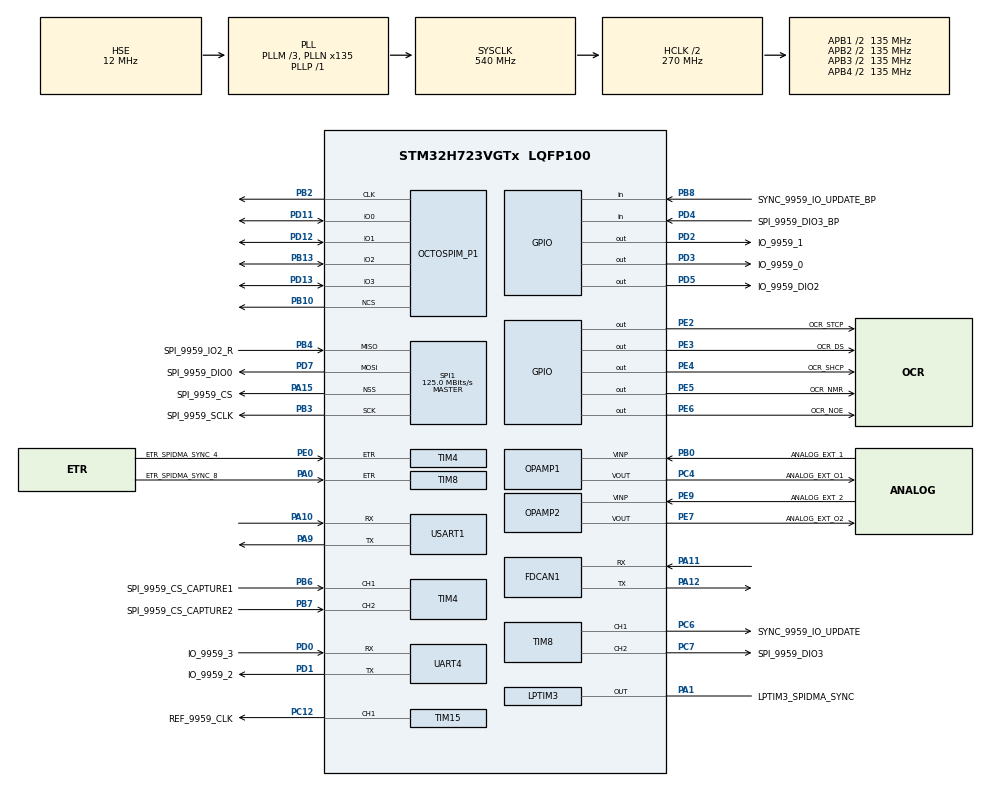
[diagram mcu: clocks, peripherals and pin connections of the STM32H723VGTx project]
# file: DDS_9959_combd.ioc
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CORTEX_M7.default_mode_Activation=1
Dma.Request0=TIM4_UP
Dma.Request1=SPI1_TX
Dma.SPI1_TX.1.Direction=DMA_MEMORY_TO_PERIPH
Dma.SPI1_TX.1.EventEnable=DISABLE
Dma.SPI1_TX.1.FIFOMode=DMA_FIFOMODE_DISABLE
Dma.SPI1_TX.1.Instance=DMA1_Stream1
Dma.SPI1_TX.1.MemDataAlignment=DMA_MDATAALIGN_BYTE
Dma.SPI1_TX.1.MemInc=DMA_MINC_ENABLE
Dma.SPI1_TX.1.Mode=DMA_NORMAL
Dma.SPI1_TX.1.PeriphDataAlignment=DMA_PDATAALIGN_BYTE
Dma.SPI1_TX.1.PeriphInc=DMA_PINC_DISABLE
Dma.SPI1_TX.1.Polarity=HAL_DMAMUX_REQ_GEN_RISING
Dma.SPI1_TX.1.Priority=DMA_PRIORITY_HIGH
Dma.SPI1_TX.1.RequestNumber=1
Dma.SPI1_TX.1.SignalID=NONE
Dma.SPI1_TX.1.SyncEnable=ENABLE
Dma.SPI1_TX.1.SyncPolarity=HAL_DMAMUX_SYNC_RISING
Dma.SPI1_TX.1.SyncRequestNumber=1
Dma.SPI1_TX.1.SyncSignalID=HAL_DMAMUX1_SYNC_LPTIM3_OUT
Dma.TIM4_UP.0.Direction=DMA_PERIPH_TO_MEMORY
Dma.TIM4_UP.0.EventEnable=DISABLE
Dma.TIM4_UP.0.FIFOMode=DMA_FIFOMODE_DISABLE
Dma.TIM4_UP.0.Instance=DMA1_Stream3
Dma.TIM4_UP.0.MemDataAlignment=DMA_MDATAALIGN_HALFWORD
Dma.TIM4_UP.0.MemInc=DMA_MINC_ENABLE
Dma.TIM4_UP.0.Mode=DMA_NORMAL
Dma.TIM4_UP.0.PeriphDataAlignment=DMA_PDATAALIGN_HALFWORD
Dma.TIM4_UP.0.PeriphInc=DMA_PINC_DISABLE
Dma.TIM4_UP.0.Polarity=HAL_DMAMUX_REQ_GEN_RISING
Dma.TIM4_UP.0.Priority=DMA_PRIORITY_LOW
Dma.TIM4_UP.0.RequestNumber=1
Dma.TIM4_UP.0.SignalID=NONE
Dma.TIM4_UP.0.SyncEnable=DISABLE
Dma.TIM4_UP.0.SyncPolarity=HAL_DMAMUX_SYNC_NO_EVENT
Dma.TIM4_UP.0.SyncRequestNumber=1
Dma.TIM4_UP.0.SyncSignalID=NONE
FDCAN1.CalculateBaudRateNominal=2083333
FDCAN1.CalculateTimeBitNominal=480
FDCAN1.CalculateTimeQuantumNominal=160.0
Mcu.Family=STM32H7
Mcu.Name=STM32H723VGTx
Mcu.Package=LQFP100
NVIC.DMA1_Stream1_IRQn=true\:0\:0\:false\:false\:true\:false\:true\:true
NVIC.DMA1_Stream3_IRQn=true\:0\:0\:false\:false\:true\:false\:true\:true
NVIC.DMAMUX1_OVR_IRQn=true\:0\:0\:false\:false\:true\:false\:true\:true
NVIC.PriorityGroup=NVIC_PRIORITYGROUP_4
NVIC.SPI1_IRQn=true\:0\:0\:false\:false\:true\:false\:true\:true
NVIC.TIM5_IRQn=true\:0\:0\:false\:false\:true\:true\:true\:true
NVIC.TIM8_UP_TIM13_IRQn=true\:0\:0\:false\:false\:true\:true\:true\:true
OCTOSPI1.ChipSelectHighTime=2
OCTOSPI1.ClockPrescaler=4
OCTOSPI1.DelayHoldQuarterCycle=HAL_OSPI_DHQC_ENABLE
OCTOSPI1.DeviceSize=23
OCTOSPI1.MemoryType=HAL_OSPI_MEMTYPE_APMEMORY
OCTOSPI1.Refresh=0
OCTOSPI1.WrapSize=HAL_OSPI_WRAP_NOT_SUPPORTED
PA0.GPIO_Label=ETR_SPIDMA_SYNC_8
PA0.Signal=S_TIM8_ETR
PA1.GPIO_Label=LPTIM3_SPIDMA_SYNC
PA1.Mode=WaveformGeneration
PA1.Signal=LPTIM3_OUT
PA10.Mode=Asynchronous
PA10.Signal=USART1_RX
PA11.Mode=FDCAN_Activate
PA11.Signal=FDCAN1_RX
PA12.Mode=FDCAN_Activate
PA12.Signal=FDCAN1_TX
PA13(JTMS/SWDIO).Mode=Serial_Wire
PA13(JTMS/SWDIO).Signal=DEBUG_JTMS-SWDIO
PA14(JTCK/SWCLK).Mode=Serial_Wire
PA14(JTCK/SWCLK).Signal=DEBUG_JTCK-SWCLK
PA15(JTDI).GPIO_Label=SPI_9959_CS
PA15(JTDI).GPIO_PuPd=GPIO_PULLUP
PA15(JTDI).GPIO_Speed=GPIO_SPEED_FREQ_VERY_HIGH
PA15(JTDI).Mode=NSS_Signal_Hard_Output
PA15(JTDI).Signal=SPI1_NSS
PA9.Mode=Asynchronous
PA9.Signal=USART1_TX
PB0.GPIO_Label=ANALOG_EXT_1
PB0.Mode=PGA Not Connected
PB0.Signal=OPAMP1_VINP
PB10.Mode=OCTOSPI1_Port1_NCS
PB10.Signal=OCTOSPIM_P1_NCS
PB13.Mode=OCTOSPI1_IOL_Port1L
PB13.Signal=OCTOSPIM_P1_IO2
PB2.Mode=O1_P1_CLK
PB2.Signal=OCTOSPIM_P1_CLK
PB3(JTDO/TRACESWO).GPIO_Label=SPI_9959_SCLK
PB3(JTDO/TRACESWO).GPIO_PuPd=GPIO_NOPULL
PB3(JTDO/TRACESWO).GPIO_Speed=GPIO_SPEED_FREQ_HIGH
PB3(JTDO/TRACESWO).Mode=Full_Duplex_Master
PB3(JTDO/TRACESWO).Signal=SPI1_SCK
PB4(NJTRST).GPIO_Label=SPI_9959_IO2_R
PB4(NJTRST).GPIO_PuPd=GPIO_PULLDOWN
PB4(NJTRST).GPIO_Speed=GPIO_SPEED_FREQ_VERY_HIGH
PB4(NJTRST).Mode=Full_Duplex_Master
PB4(NJTRST).Signal=SPI1_MISO
PB6.GPIO_Label=SPI_9959_CS_CAPTURE1
PB6.Signal=S_TIM4_CH1
PB7.GPIO_Label=SPI_9959_CS_CAPTURE2
PB7.Signal=S_TIM4_CH2
PB8.GPIO_Label=SYNC_9959_IO_UPDATE_BP
PB8.GPIO_PuPd=GPIO_PULLDOWN
PB8.Signal=GPIO_Input
PC12.GPIO_Label=REF_9959_CLK
PC12.GPIO_Speed=GPIO_SPEED_FREQ_VERY_HIGH
PC12.Signal=S_TIM15_CH1
PC4.GPIO_Label=ANALOG_EXT_O1
PC4.Mode=PGA Not Connected
PC4.Signal=OPAMP1_VOUT
PC6.GPIO_Label=SYNC_9959_IO_UPDATE
PC6.GPIO_Speed=GPIO_SPEED_FREQ_VERY_HIGH
PC6.Signal=S_TIM8_CH1
PC7.GPIO_Label=SPI_9959_DIO3
PC7.GPIO_Speed=GPIO_SPEED_FREQ_VERY_HIGH
PC7.Signal=S_TIM8_CH2
PD0.GPIO_Label=IO_9959_3
PD0.Mode=Asynchronous
PD0.Signal=UART4_RX
PD1.GPIO_Label=IO_9959_2
PD1.Mode=Asynchronous
PD1.Signal=UART4_TX
PD11.Mode=OCTOSPI1_IOL_Port1L
PD11.Signal=OCTOSPIM_P1_IO0
PD12.Mode=OCTOSPI1_IOL_Port1L
PD12.Signal=OCTOSPIM_P1_IO1
PD13.Mode=OCTOSPI1_IOL_Port1L
PD13.Signal=OCTOSPIM_P1_IO3
PD2.GPIO_Label=IO_9959_1
PD2.GPIO_Speed=GPIO_SPEED_FREQ_HIGH
PD2.Signal=GPIO_Output
PD3.GPIO_Label=IO_9959_0
PD3.GPIO_Speed=GPIO_SPEED_FREQ_HIGH
PD3.PinState=GPIO_PIN_RESET
PD3.Signal=GPIO_Output
PD4.GPIO_Label=SPI_9959_DIO3_BP
PD4.Signal=GPIO_Input
PD5.GPIO_Label=IO_9959_DIO2
PD5.GPIO_Speed=GPIO_SPEED_FREQ_VERY_HIGH
PD5.Signal=GPIO_Output
PD6.GPIO_Label=SPI_9959_DIO1
PD6.GPIO_PuPd=GPIO_PULLDOWN
PD6.GPIO_Speed=GPIO_SPEED_FREQ_VERY_HIGH
PD6.Signal=SPI3_MOSI
PD7.GPIO_Label=SPI_9959_DIO0
PD7.GPIO_PuPd=GPIO_NOPULL
PD7.GPIO_Speed=GPIO_SPEED_FREQ_HIGH
PD7.Mode=Full_Duplex_Master
PD7.Signal=SPI1_MOSI
PE0.GPIO_Label=ETR_SPIDMA_SYNC_4
PE0.Signal=S_TIM4_ETR
PE2.GPIO_Label=OCR_STCP
PE2.Signal=GPIO_Output
PE3.GPIO_Label=OCR_DS
PE3.Signal=GPIO_Output
PE4.GPIO_Label=OCR_SHCP
PE4.Signal=GPIO_Output
PE5.GPIO_Label=OCR_NMR
PE5.Signal=GPIO_Output
PE6.GPIO_Label=OCR_NOE
PE6.Signal=GPIO_Output
PE7.GPIO_Label=ANALOG_EXT_O2
PE7.Mode=PGA Not Connected
PE7.Signal=OPAMP2_VOUT
PE9.GPIO_Label=ANALOG_EXT_2
PE9.Mode=PGA Not Connected
PE9.Signal=OPAMP2_VINP
PH0-OSC_IN.Mode=HSE-External-Clock-Source
PH0-OSC_IN.Signal=RCC_OSC_IN
ProjectManager.HeapSize=0x200
ProjectManager.StackSize=0x400
ProjectManager.TargetToolchain=Makefile
RCC.ADCFreq_Value=250000000
RCC.APB1Freq_Value=135000000
RCC.APB2Freq_Value=135000000
RCC.APB3Freq_Value=135000000
RCC.APB4Freq_Value=135000000
RCC.CKPERSourceSelection=RCC_CLKPSOURCE_HSE
RCC.CortexFreq_Value=540000000
RCC.D1PPRE=RCC_APB3_DIV2
RCC.D2PPRE1=RCC_APB1_DIV2
RCC.D2PPRE2=RCC_APB2_DIV2
RCC.D3PPRE=RCC_APB4_DIV2
RCC.DIVM1=3
RCC.DIVM2=3
RCC.DIVM3=3
RCC.DIVN1=135
RCC.DIVN2=125
RCC.DIVN3=128
RCC.DIVP1=1
RCC.DIVQ2=5
RCC.EnbaleCSS=true
RCC.FDCANCLockSelection=RCC_FDCANCLKSOURCE_PLL2
RCC.HCLKFreq_Value=270000000
RCC.HPRE=RCC_HCLK_DIV2
RCC.HSE_VALUE=12000000
RCC.PLL2FRACN=0
RCC.PLL3FRACN=0
RCC.PLLFRACN=0
RCC.PLLSourceVirtual=RCC_PLLSOURCE_HSE
RCC.PWR_Regulator_Voltage_Scale=PWR_REGULATOR_VOLTAGE_SCALE0
RCC.QSPICLockSelection=RCC_OSPICLKSOURCE_PLL2
RCC.SPI123CLockSelection=RCC_SPI123CLKSOURCE_PLL2
RCC.SYSCLKFreq_VALUE=540000000
RCC.SYSCLKSource=RCC_SYSCLKSOURCE_PLLCLK
RCC.SupplySource=PWR_EXTERNAL_SOURCE_SUPPLY
RCC.USART16CLockSelection=RCC_USART16910CLKSOURCE_PLL2
RCC.USART234578CLockSelection=RCC_USART234578CLKSOURCE_PLL2
RCC.USBFreq_Value=270000000
SH.S_TIM15_CH1.0=TIM15_CH1,PWM Generation1 CH1
SH.S_TIM4_CH1.0=TIM4_CH1,Input_Capture1_from_TI1
SH.S_TIM4_CH2.0=TIM4_CH2,Input_Capture2_from_TI2
SH.S_TIM4_ETR.0=TIM4_ETR,TriggerSource_ETR
SH.S_TIM8_CH1.0=TIM8_CH1,PWM Generation1 CH1
SH.S_TIM8_CH2.0=TIM8_CH2,PWM Generation2 CH2
SH.S_TIM8_ETR.0=TIM8_ETR,TriggerSource_ETR
SPI1.BaudRatePrescaler=SPI_BAUDRATEPRESCALER_2
SPI1.CLKPhase=SPI_PHASE_1EDGE
SPI1.CLKPolarity=SPI_POLARITY_LOW
SPI1.CalculateBaudRate=125.0 MBits/s
SPI1.DataSize=SPI_DATASIZE_8BIT
SPI1.Direction=SPI_DIRECTION_2LINES
SPI1.Mode=SPI_MODE_MASTER
SPI1.VirtualNSS=VM_NSSHARD
SPI1.VirtualType=VM_MASTER
TIM15.Channel-PWM\ Generation1\ CH1=TIM_CHANNEL_1
TIM15.Prescaler=0
TIM15.Pulse-PWM\ Generation1\ CH1=99
TIM4.Channel-Input_Capture1_from_TI1=TIM_CHANNEL_1
TIM4.Channel-Input_Capture2_from_TI2=TIM_CHANNEL_2
TIM5.Channel-PWM\ Generation1\ No\ Output=TIM_CHANNEL_1
TIM8.AutoReloadPreload=TIM_AUTORELOAD_PRELOAD_ENABLE
TIM8.Channel-PWM\ Generation1\ CH1=TIM_CHANNEL_1
TIM8.Channel-PWM\ Generation2\ CH2=TIM_CHANNEL_2
USART1.VirtualMode-Asynchronous=VM_ASYNC
VP_CORDIC_VS_CORDIC.Mode=CORDIC_Activate
VP_FMAC_VS_FMAC.Mode=FMAC_Activate
VP_LPTIM3_VS_LPTIM_counterModeInternalClock.Mode=Counts__internal_clock_event_00
VP_MEMORYMAP_VS_MEMORYMAP.Mode=CurAppReg
VP_OCTOSPI1_VS_quad.Mode=quad_mode
VP_TIM15_VS_ClockSourceINT.Mode=Internal
VP_TIM4_VS_ControllerModeReset.Mode=Reset Mode
VP_TIM5_VS_ClockSourceINT.Mode=Internal
VP_TIM5_VS_no_output1.Mode=PWM Generation1 No Output
VP_TIM8_VS_ClockSourceINT.Mode=Internal
VP_TIM8_VS_ControllerModeReset.Mode=Reset Mode
VP_VREFBUF_V_VREFBUF.Mode=ExternalMode
board=custom

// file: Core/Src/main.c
/* USER CODE BEGIN Header */
/**
  ******************************************************************************
  * @file           : main.c
  * @brief          : Main program body
  ******************************************************************************
  * @attention
  *
  * Copyright (c) 2026 STMicroelectronics.
  * All rights reserved.
  *
  * This software is licensed under terms that can be found in the LICENSE file
  * in the root directory of this software component.
  * If no LICENSE file comes with this software, it is provided AS-IS.
  *
  ******************************************************************************
  */
/* USER CODE END Header */
#include "main.h"

/* USER CODE BEGIN Includes */
#include "ad9959.h"
#include "ad9959_reg.h"
#include "hc595.h"
#include "bsp_spi.h"
#include "bsp_tim.h"
#include "bsp_dwt.h"
#include "debug_state.h"
#include "tx_buffer.h"
#include "phase1_config.h"
#include "mod_config.h"
#include "channel_config.h"
#include "dds_calc.h"
#include "led_indicator.h"
#include "bsp_uart_rx.h"
#include "host_protocol.h"
#include "dds_control.h"
#include "debug_manual.h"
#include "trigger.h"
#include "bsp_dma.h"
#include "aps6404.h"
#include "payload_sched.h"
#include <string.h>
/* USER CODE END Includes */

CORDIC_HandleTypeDef hcordic;

FDCAN_HandleTypeDef hfdcan1;

FMAC_HandleTypeDef hfmac;

LPTIM_HandleTypeDef hlptim3;

OSPI_HandleTypeDef hospi1;

OPAMP_HandleTypeDef hopamp1;
OPAMP_HandleTypeDef hopamp2;

SPI_HandleTypeDef hspi1;
DMA_HandleTypeDef hdma_spi1_tx;

TIM_HandleTypeDef htim4;
TIM_HandleTypeDef htim5;
TIM_HandleTypeDef htim8;
TIM_HandleTypeDef htim15;
DMA_HandleTypeDef hdma_tim4_up;

UART_HandleTypeDef huart4;
UART_HandleTypeDef huart1;

/* USER CODE BEGIN PV */
DebugState ds = {0};
volatile AD9959_Diag ad9959_diag = {0};
static volatile bool tx_running = true;

/* Debugger (Ozone) trigger: set to 1 after modifying mod_cfg[] to
 * rebuild pre_encoded[] and re-write static regs (CSR+CFR).
 * The main loop clears it after applying. */
volatile uint32_t debug_reload = 0;
/* USER CODE END PV */

void SystemClock_Config(void);
void PeriphCommonClock_Config(void);
static void MPU_Config(void);
static void MX_GPIO_Init(void);
static void MX_DMA_Init(void);
static void MX_CORDIC_Init(void);
static void MX_FDCAN1_Init(void);
static void MX_FMAC_Init(void);
static void MX_SPI1_Init(void);
static void MX_TIM8_Init(void);
static void MX_TIM15_Init(void);
static void MX_UART4_Init(void);
static void MX_USART1_UART_Init(void);
static void MX_OPAMP1_Init(void);
static void MX_OPAMP2_Init(void);
static void MX_OCTOSPI1_Init(void);
static void MX_TIM5_Init(void);
static void MX_LPTIM3_Init(void);
static void MX_TIM4_Init(void);
/* USER CODE BEGIN PFP */
static void MPU_Config_PSRAM(void);   /* defined in USER CODE 4 */
/* USER CODE END PFP */

/* USER CODE BEGIN 0 */

/**
 * @brief  TIM period-elapsed callback — TIM5 (LED) + TIM8 (9959 sync).
 *
 * Downgrade mode: TIM8 free-runs and replays pre-encoded register frames
 * via blocking single-wire SPI1 at every period.
 * DMA mode: TIM8 runs in slave-reset/PWM mode with no Update ISR, so the
 * TIM8 branch below is compiled out entirely.
 */
void HAL_TIM_PeriodElapsedCallback(TIM_HandleTypeDef *htim)
{
#if AD9959_DOWNGRADE_MODE
    if (htim->Instance == TIM8) {
        ds.tim8_isr_active = 1U;
        /* TIM8 CH1 hardware PWM generates IO_UPDATE automatically at
         * every period update.  SPI data sent here is applied by the
         * NEXT period's IO_UPDATE (one-sample pipeline, transparent
         * for CW and all modulations).  Symbol handoff is owned by
         * PayloadSched_Task() (main loop); with no payload the encoder
         * emits the idle MARK symbol. */
        (void)Encoder_BuildBank();

        for (uint8_t ch = 0; ch < DDS_CHANNEL_COUNT; ch++) {
            if (!(pre_encoded_mask & (1U << ch))) continue;

            const DDS_EncodedFrame *f = &pre_encoded[ch];
            /* Each AD9959 register command is an independent CS frame.
             * Select this channel immediately before its variable data. */
            HAL_SPI_Transmit(&hspi1, (uint8_t *)f->csr,  sizeof(f->csr),  HAL_MAX_DELAY);
            HAL_SPI_Transmit(&hspi1, (uint8_t *)f->cftw, sizeof(f->cftw), HAL_MAX_DELAY);
            HAL_SPI_Transmit(&hspi1, (uint8_t *)f->acr,  sizeof(f->acr),  HAL_MAX_DELAY);
            HAL_SPI_Transmit(&hspi1, (uint8_t *)f->cpow, sizeof(f->cpow), HAL_MAX_DELAY);
        }

        ds.frame_count++;
        ad9959_diag.frame_count = ds.frame_count;
        ds.tim8_isr_active = 0U;
        return;
    }
#else
    (void)htim;
#endif

    if (htim->Instance == TIM5) {
        Led_Refresh();
        return;
    }
}

#if !AD9959_DOWNGRADE_MODE
/**
 * @brief  SPI1 DMA transfer-complete callback (DMA mode only).
 *
 * Minimal ISR: swap the ping-pong bank, re-arm DMA from the now-active
 * bank, bump counters and signal the main loop to refill the idle bank.
 * No encoding, no blocking calls.
 */
void HAL_SPI_TxCpltCallback(SPI_HandleTypeDef *hspi)
{
    if (hspi->Instance != SPI1) {
        return;
    }

    TxBuf_Swap();
    FrameBank *active = TxBuf_GetActive();
    if (tx_bank_bytes > 0U) {
        HAL_SPI_Transmit_DMA(&hspi1, active->spi1, tx_bank_bytes);
    }

    ds.frame_count++;
    ad9959_diag.frame_count = ds.frame_count;
    ad9959_diag.spi1_done_count++;

    /* Ask the main loop to refill the (now idle) bank. */
    ds.dma_bank_ready = 1U;

    BSP_DMA_NotifyComplete(hspi);
}

/**
 * @brief  SPI error callback (HAL weak default is a no-op).
 *
 * Without this, a DMAMUX sync overrun ends in SPI_DMAError → SPI_CloseTransfer
 * and the chain simply stops: no TxCplt ever fires again, so nothing re-arms
 * the DMA.  Latch a flag here (ISR context — no processing) and let the main
 * loop run the recovery, which Trigger_Stop()/Trigger_Restart() now support
 * synchronously.
 */
void HAL_SPI_ErrorCallback(SPI_HandleTypeDef *hspi)
{
    if (hspi->Instance != SPI1) {
        return;
    }

    ds.chain_fault = 1U;
    ds.chain_fault_count++;
    ad9959_diag.spi1_error = HAL_SPI_GetError(hspi);
    ad9959_diag.dma1_lisr = DMA1->LISR;
    ad9959_diag.dma1_hisr = DMA1->HISR;
}
#endif /* !AD9959_DOWNGRADE_MODE */

/* USER CODE END 0 */

int main(void)
{

  /* MPU Configuration--------------------------------------------------------*/
  MPU_Config();

  /* MCU Configuration--------------------------------------------------------*/

  /* Reset of all peripherals, Initializes the Flash interface and the Systick. */
  HAL_Init();

  /* Configure the system clock */
  SystemClock_Config();

  /* Configure the peripherals common clocks */
  PeriphCommonClock_Config();

  /* USER CODE BEGIN SysInit */
  DWT_Init(540U);
  /* APS6404 PSRAM aperture: MPU region 0 marks 0x90000000 NO_ACCESS —
   * grant it before anything (CPU or DMA) touches the mapped region. */
  MPU_Config_PSRAM();

  /* USER CODE END SysInit */

  /* Initialize all configured peripherals */
  MX_GPIO_Init();
  MX_DMA_Init();
  MX_CORDIC_Init();
  MX_FDCAN1_Init();
  MX_FMAC_Init();
  MX_SPI1_Init();
  MX_TIM8_Init();
  MX_TIM15_Init();
  MX_UART4_Init();
  MX_USART1_UART_Init();
  MX_OPAMP1_Init();
  MX_OPAMP2_Init();
  MX_OCTOSPI1_Init();
  MX_TIM5_Init();
  MX_LPTIM3_Init();
  MX_TIM4_Init();
  /* USER CODE BEGIN 2 */

  /* ---- Init frame timing ---- */
  tx_timing.baud_rate       = P1_BAUD_RATE;
  tx_timing.samples_per_sym = P1_SAMPLES_PER_SYM;
  TxTiming_Update();

  /* ---- APS6404 PSRAM (8 MB @ 0x90000000) — non-fatal bring-up ---- */
  APS6404_Init();
  APS6404_SelfTest();

  /* ---- Phase 1: Initialize 595 + AD9959 ---- */
  HC595_Init();
  /* ── LED system: TIM5 10 Hz ISR drives indicator refresh ── */
  HAL_TIM_Base_Start_IT(&htim5);
  leds.stby         = LED_BLINK_1HZ;
  leds.analog_ready = LED_BLINK_1HZ;
#if HC595_OUTPUT_SELFTEST
  /* Both 595s: Q0 low, Q1..Q7 high. Hold this state for probing. */
  HC595_Write(HC595_OUTPUT_SELFTEST_WORD);
  HC595_OutputEnable(true);
  while (1)
  {
  }
#endif
#if AD9959_SPI_WAVEFORM_TEST
  AD9959_DebugSpiWaveformTest();
#else
  AD9959_Init();
  leds.analog_ready = LED_ON;          /* DDS powered → ANALOG steady on */
#if AD9959_CYCLIC_FTW_DMA_TEST
  AD9959_CyclicFTW_Start(FTW_10MHZ, AD9959_CYCLIC_FTW_PERIOD_MS);
#endif
#endif

#if !AD9959_DIRECT_CW_TEST
  /* ---- All 4 channels CW @ 99.7 MHz, amplitude zero (outputs muted) ----
   * Bring-up step: the DMA trigger chain runs normally (56 B/frame, IO_UPDATE,
   * TIM4 captures) but ASF = 0 keeps every channel silent on RF.
   * Enable output later via host SET_CW(asf > 0) + APPLY, or by writing
   * mod_cfg[ch].cw.asf in Ozone and setting debug_reload = 1. */
  ModCfg_SetCW(0, DDSCalc_FTW(99700000U), 0x000);
  ModCfg_SetCW(1, DDSCalc_FTW(99700000U), 0x000);
  ModCfg_SetCW(2, DDSCalc_FTW(99700000U), 0x000);
  ModCfg_SetCW(3, DDSCalc_FTW(99700000U), 0x000);
  PayloadSched_Init();

  /* Template1-style: CSR before every data register, all 4 channels,
   * one IO_UPDATE at end.  HAL_SPI_Transmit is blocking — no extra
   * delay needed between writes. */
  AD9959_IOUpdateGpioInit();    /* borrow PC6 as GPIO */
  {
      const uint8_t cfr[3]  = {0x00, 0x03, 0x00};          /* CFR */
      const uint8_t acr[3]  = {0x00, 0x10, 0x00};          /* ASF=0x000, AMP_MULT on */
      const uint8_t cpow[2] = {0x00, 0x00};                /* phase=0 */

      /* CFTW from DDSCalc — computed at compile time */
      uint8_t cftw[4];
      uint32_t ftw = DDSCalc_FTW(99700000U);
      cftw[0] = (ftw >> 24) & 0xFF;
      cftw[1] = (ftw >> 16) & 0xFF;
      cftw[2] = (ftw >> 8)  & 0xFF;
      cftw[3] =  ftw        & 0xFF;

      for (uint8_t ch = 0; ch < DDS_CHANNEL_COUNT; ch++) {
          const uint8_t csr = CSR_CHANNEL(ch);

          AD9959_WriteRegister(AD9959_REG_CSR,  &csr,  1);
          AD9959_WriteRegister(AD9959_REG_CFR,  cfr,   3);

          AD9959_WriteRegister(AD9959_REG_CSR,  &csr,  1);
          AD9959_WriteRegister(AD9959_REG_CFTW, cftw,  4);

          AD9959_WriteRegister(AD9959_REG_CSR,  &csr,  1);
          AD9959_WriteRegister(AD9959_REG_ACR,  acr,   3);

          AD9959_WriteRegister(AD9959_REG_CSR,  &csr,  1);
          AD9959_WriteRegister(AD9959_REG_CPOW, cpow,  2);
      }

      AD9959_IOUpdate();
  }
  AD9959_IOUpdateTimerInit();  /* return PC6 to TIM8_CH1 AF */

#if AD9959_DOWNGRADE_MODE
  /* ---- Prime first pre-encoded data frames (downgrade TIM8 ISR only;
   *      DMA mode builds its banks via Encoder_BuildBank_DMA below) ---- */
  Encoder_BuildBank();
#endif

  /* ---- Host protocol: USART1 RX DMA + IDLE ---- */
  BSP_UartRx_Init(&huart1);
  HostProtocol_Init();

#if AD9959_DOWNGRADE_MODE
  /* ---- Start TIM8 free-running @ 30 kHz (downgrade mode) ---- */
  BSP_TIM8_StartFreeRun(10000U);  /* 10 kHz — 100 us period, safe for SPI+UART DMA */
  ad9959_diag.tx_running = 1U;
  ad9959_diag.tx_stop_pending = 0U;
#else
  /* ================================================================
   * DMA mode: LPTIM3 → DMAMUX sync → SPI1 DMA → TIM8 ETR chain
   * ================================================================ */

  /* Build initial bank 0 (zero-copy encode into D2 SRAM).  DebugManual_Task()
   * runs first so a warm reset (Ozone keeps RAM, debug_manual_enable survives)
   * gets the debug configuration into the very first frame. */
  DebugManual_Task();                   /* no-op unless debug_manual_enable */
  tx_bank_bytes = Encoder_BuildBank_DMA();

  /* Prime bank 1 as idle (ping-pong pre-fill), then restore bank 0 active. */
  TxBuf_Swap();
  DebugManual_Task();
  tx_bank_bytes = Encoder_BuildBank_DMA();
  TxBuf_Swap();

  /* ---- Init trigger chain ---- */
  Trigger_Config tcfg;
  tcfg.spi1_ping   = tx_bank[0].spi1;
  tcfg.bank_size   = tx_bank_bytes;
  tcfg.sample_rate = tx_timing.sample_rate;
  tcfg.ch1_delay   = P1_CH1_DELAY;      /* IO_UPDATE delay ticks (calibrate!) */
  tcfg.ch2_delay   = P1_CH2_DELAY;      /* DIO3 delay ticks             */
  Trigger_Init(&tcfg);

  /* Arm DMA, then start LPTIM3 — chain begins.  Trigger_Start() leaves LPTIM3
   * stopped when the DMA refuses to arm, in which case the main loop reports
   * tx_running = 0 (no frames) instead of silently overrunning the sync gate. */
  ad9959_diag.tx_running = (uint32_t)(Trigger_Start() == HAL_OK);
  ad9959_diag.tx_stop_pending = 0U;
#endif
#endif
  /* USER CODE END 2 */

  /* Infinite loop */
  /* USER CODE BEGIN WHILE */
#if AD9959_DOWNGRADE_MODE && !AD9959_DIRECT_CW_TEST
  uint32_t last_tick = HAL_GetTick();
#endif
  while (1)
  {
    /* USER CODE END WHILE */

    /* USER CODE BEGIN 3 */
    HostProtocol_Task();
    DDSControl_Task();

    /* Payload handoff: promote staged symbols / repeat-refill / optional
     * auto pattern.  Runs before the LED update so MOD READY reflects the
     * post-promotion state; runs before the bank build in DMA mode so the
     * handoff is gapless. */
    PayloadSched_Task();

    /* TX-status LEDs (MOD READY + CH0..CH3) — once per pass, both modes.
     * Runs after PayloadSched_Task() so MOD READY reflects the promoted /
     * refilled queue state, and before the bank build consumes symbols. */
    Led_UpdateTxState();

#if AD9959_DOWNGRADE_MODE
      uint32_t now = HAL_GetTick();
      if (now - last_tick >= 100) {
          last_tick = now;

          /* Debugger-driven reload: set debug_reload=1 in Ozone after
           * modifying mod_cfg[] to apply changes to the live stream.
           * Must not write SPI1 while the TIM8 ISR may be mid-transfer:
           * mask the update IRQ and wait for an in-flight ISR to drain. */
          if (debug_reload) {
              uint8_t mask = 0;
              for (uint8_t ch = 0; ch < DDS_CHANNEL_COUNT; ch++) {
                  if (mod_cfg[ch].enabled) mask |= (1U << ch);
              }
              TIM8->DIER &= ~TIM_IT_UPDATE;
              while (ds.tim8_isr_active) { /* spin until ISR drained */ }
              Encoder_WriteStaticRegs(mask);
              Encoder_BuildBank();
              TIM8->DIER |= TIM_IT_UPDATE;
              debug_reload = 0;
          }
      }
#else
      /* ---- Chain fault recovery ----
       * HAL_SPI_ErrorCallback() latched this.  dds.chain_fault is the ONLY
       * path back from a dead chain: Trigger_Stop() now returns with SPI1
       * genuinely idle, and Trigger_Restart() refuses to start LPTIM3 unless
       * the DMA armed successfully. */
      if (ds.chain_fault) {
          ds.chain_fault = 0U;
          if (AD9959_DMA_AUTO_RESTART) {
              ad9959_diag.chain_recovery_count++;
              (void)Trigger_Stop();
              ad9959_diag.tx_running = (uint32_t)(Trigger_Restart() == HAL_OK);
          } else {
              ad9959_diag.tx_running = 0U;
          }
          /* AD9959_DMA_AUTO_RESTART = 0: leave the chain dead so Ozone can
           * inspect hspi1.ErrorCode / hspi1.State / ad9959_diag.spi1_error —
           * tx_running now reports the chain as stopped, so MOD READY drops. */
      }

      /* Manual debug mode owns mod_cfg[].  Called every main-loop pass, NOT
       * only on dma_bank_ready: otherwise a dead chain freezes mod_cfg[] and
       * the debugger cannot see (or change) anything.  The function is cheap
       * and idempotent — the encoder still only reads it once per frame. */
      if (debug_manual_enable) {
          DebugManual_Task();
      }

      /* DMA mode: refill the idle bank when the DMA TC ISR signals it.
       * Symbol handoff (promote / repeat refill / optional auto pattern)
       * is owned by PayloadSched_Task() earlier in the pass. */
      if (ds.dma_bank_ready) {
          ds.dma_bank_ready = 0U;
          /* Zero-copy encode straight into TxBuf_GetIdle()->spi1[] (D2 SRAM).
           * With no payload the encoder emits the idle MARK symbol. */
          (void)Encoder_BuildBank_DMA();
      }

      /* Debugger-driven reload (Ozone debug_reload = 1).
       * The DMA chain owns SPI1 — stop it, apply, then restart.
       * Skipped in manual debug mode: DebugManual_Task() already rebuilds
       * mod_cfg[] every frame, so the stop/restart cycle would only cost a
       * chain stall and then be overwritten.
       * Trigger_Stop() is synchronous, so the blocking Encoder_WriteStaticRegs
       * below no longer races an in-flight HAL_SPI_Abort_IT(). */
      if (debug_reload && !debug_manual_enable) {
          uint8_t mask = 0;
          for (uint8_t ch = 0; ch < DDS_CHANNEL_COUNT; ch++) {
              if (mod_cfg[ch].enabled) mask |= (1U << ch);
          }
          (void)Trigger_Stop();
          Encoder_WriteStaticRegs(mask);
          (void)Encoder_BuildBank_DMA();
          TxBuf_Swap();
          (void)Encoder_BuildBank_DMA();
          TxBuf_Swap();
          ad9959_diag.tx_running = (uint32_t)(Trigger_Restart() == HAL_OK);
          debug_reload = 0;
      }
#endif
  }
  /* USER CODE END 3 */
}

void SystemClock_Config(void)
{
  RCC_OscInitTypeDef RCC_OscInitStruct = {0};
  RCC_ClkInitTypeDef RCC_ClkInitStruct = {0};

  /** Supply configuration update enable
  */
  HAL_PWREx_ConfigSupply(PWR_EXTERNAL_SOURCE_SUPPLY);

  /** Configure the main internal regulator output voltage
  */
  __HAL_PWR_VOLTAGESCALING_CONFIG(PWR_REGULATOR_VOLTAGE_SCALE0);

  while(!__HAL_PWR_GET_FLAG(PWR_FLAG_VOSRDY)) {}

  /** Initializes the RCC Oscillators according to the specified parameters
  * in the RCC_OscInitTypeDef structure.
  */
  RCC_OscInitStruct.OscillatorType = RCC_OSCILLATORTYPE_HSE;
  RCC_OscInitStruct.HSEState = RCC_HSE_BYPASS;
  RCC_OscInitStruct.PLL.PLLState = RCC_PLL_ON;
  RCC_OscInitStruct.PLL.PLLSource = RCC_PLLSOURCE_HSE;
  RCC_OscInitStruct.PLL.PLLM = 3;
  RCC_OscInitStruct.PLL.PLLN = 135;
  RCC_OscInitStruct.PLL.PLLP = 1;
  RCC_OscInitStruct.PLL.PLLQ = 2;
  RCC_OscInitStruct.PLL.PLLR = 2;
  RCC_OscInitStruct.PLL.PLLRGE = RCC_PLL1VCIRANGE_2;
  RCC_OscInitStruct.PLL.PLLVCOSEL = RCC_PLL1VCOWIDE;
  RCC_OscInitStruct.PLL.PLLFRACN = 0;
  if (HAL_RCC_OscConfig(&RCC_OscInitStruct) != HAL_OK)
  {
    Error_Handler();
  }

  /** Initializes the CPU, AHB and APB buses clocks
  */
  RCC_ClkInitStruct.ClockType = RCC_CLOCKTYPE_HCLK|RCC_CLOCKTYPE_SYSCLK
                              |RCC_CLOCKTYPE_PCLK1|RCC_CLOCKTYPE_PCLK2
                              |RCC_CLOCKTYPE_D3PCLK1|RCC_CLOCKTYPE_D1PCLK1;
  RCC_ClkInitStruct.SYSCLKSource = RCC_SYSCLKSOURCE_PLLCLK;
  RCC_ClkInitStruct.SYSCLKDivider = RCC_SYSCLK_DIV1;
  RCC_ClkInitStruct.AHBCLKDivider = RCC_HCLK_DIV2;
  RCC_ClkInitStruct.APB3CLKDivider = RCC_APB3_DIV2;
  RCC_ClkInitStruct.APB1CLKDivider = RCC_APB1_DIV2;
  RCC_ClkInitStruct.APB2CLKDivider = RCC_APB2_DIV2;
  RCC_ClkInitStruct.APB4CLKDivider = RCC_APB4_DIV2;

  if (HAL_RCC_ClockConfig(&RCC_ClkInitStruct, FLASH_LATENCY_3) != HAL_OK)
  {
    Error_Handler();
  }

  /** Enables the Clock Security System
  */
  HAL_RCC_EnableCSS();
}

void PeriphCommonClock_Config(void)
{
  RCC_PeriphCLKInitTypeDef PeriphClkInitStruct = {0};

  /** Initializes the peripherals clock
  */
  PeriphClkInitStruct.PeriphClockSelection = RCC_PERIPHCLK_OSPI|RCC_PERIPHCLK_SPI1
                              |RCC_PERIPHCLK_FDCAN|RCC_PERIPHCLK_USART1
                              |RCC_PERIPHCLK_UART4;
  PeriphClkInitStruct.PLL2.PLL2M = 3;
  PeriphClkInitStruct.PLL2.PLL2N = 125;
  PeriphClkInitStruct.PLL2.PLL2P = 2;
  PeriphClkInitStruct.PLL2.PLL2Q = 5;
  PeriphClkInitStruct.PLL2.PLL2R = 2;
  PeriphClkInitStruct.PLL2.PLL2RGE = RCC_PLL2VCIRANGE_2;
  PeriphClkInitStruct.PLL2.PLL2VCOSEL = RCC_PLL2VCOWIDE;
  PeriphClkInitStruct.PLL2.PLL2FRACN = 0;
  PeriphClkInitStruct.OspiClockSelection = RCC_OSPICLKSOURCE_PLL2;
  PeriphClkInitStruct.Spi123ClockSelection = RCC_SPI123CLKSOURCE_PLL2;
  PeriphClkInitStruct.FdcanClockSelection = RCC_FDCANCLKSOURCE_PLL2;
  PeriphClkInitStruct.Usart234578ClockSelection = RCC_USART234578CLKSOURCE_PLL2;
  PeriphClkInitStruct.Usart16ClockSelection = RCC_USART16910CLKSOURCE_PLL2;
  if (HAL_RCCEx_PeriphCLKConfig(&PeriphClkInitStruct) != HAL_OK)
  {
    Error_Handler();
  }
}

static void MX_CORDIC_Init(void)
{

  hcordic.Instance = CORDIC;
  if (HAL_CORDIC_Init(&hcordic) != HAL_OK)
  {
    Error_Handler();
  }

}

static void MX_FDCAN1_Init(void)
{

  hfdcan1.Instance = FDCAN1;
  hfdcan1.Init.FrameFormat = FDCAN_FRAME_CLASSIC;
  hfdcan1.Init.Mode = FDCAN_MODE_NORMAL;
  hfdcan1.Init.AutoRetransmission = DISABLE;
  hfdcan1.Init.TransmitPause = DISABLE;
  hfdcan1.Init.ProtocolException = DISABLE;
  hfdcan1.Init.NominalPrescaler = 16;
  hfdcan1.Init.NominalSyncJumpWidth = 1;
  hfdcan1.Init.NominalTimeSeg1 = 1;
  hfdcan1.Init.NominalTimeSeg2 = 1;
  hfdcan1.Init.DataPrescaler = 1;
  hfdcan1.Init.DataSyncJumpWidth = 1;
  hfdcan1.Init.DataTimeSeg1 = 1;
  hfdcan1.Init.DataTimeSeg2 = 1;
  hfdcan1.Init.MessageRAMOffset = 0;
  hfdcan1.Init.StdFiltersNbr = 0;
  hfdcan1.Init.ExtFiltersNbr = 0;
  hfdcan1.Init.RxFifo0ElmtsNbr = 0;
  hfdcan1.Init.RxFifo0ElmtSize = FDCAN_DATA_BYTES_8;
  hfdcan1.Init.RxFifo1ElmtsNbr = 0;
  hfdcan1.Init.RxFifo1ElmtSize = FDCAN_DATA_BYTES_8;
  hfdcan1.Init.RxBuffersNbr = 0;
  hfdcan1.Init.RxBufferSize = FDCAN_DATA_BYTES_8;
  hfdcan1.Init.TxEventsNbr = 0;
  hfdcan1.Init.TxBuffersNbr = 0;
  hfdcan1.Init.TxFifoQueueElmtsNbr = 0;
  hfdcan1.Init.TxFifoQueueMode = FDCAN_TX_FIFO_OPERATION;
  hfdcan1.Init.TxElmtSize = FDCAN_DATA_BYTES_8;
  if (HAL_FDCAN_Init(&hfdcan1) != HAL_OK)
  {
    Error_Handler();
  }

}

static void MX_FMAC_Init(void)
{

  hfmac.Instance = FMAC;
  if (HAL_FMAC_Init(&hfmac) != HAL_OK)
  {
    Error_Handler();
  }

}

static void MX_LPTIM3_Init(void)
{

  hlptim3.Instance = LPTIM3;
  hlptim3.Init.Clock.Source = LPTIM_CLOCKSOURCE_APBCLOCK_LPOSC;
  hlptim3.Init.Clock.Prescaler = LPTIM_PRESCALER_DIV1;
  hlptim3.Init.Trigger.Source = LPTIM_TRIGSOURCE_SOFTWARE;
  hlptim3.Init.OutputPolarity = LPTIM_OUTPUTPOLARITY_HIGH;
  hlptim3.Init.UpdateMode = LPTIM_UPDATE_IMMEDIATE;
  hlptim3.Init.CounterSource = LPTIM_COUNTERSOURCE_INTERNAL;
  hlptim3.Init.Input1Source = LPTIM_INPUT1SOURCE_GPIO;
  if (HAL_LPTIM_Init(&hlptim3) != HAL_OK)
  {
    Error_Handler();
  }

}

static void MX_OCTOSPI1_Init(void)
{

  OSPIM_CfgTypeDef sOspiManagerCfg = {0};

  /* OCTOSPI1 parameter configuration*/
  hospi1.Instance = OCTOSPI1;
  hospi1.Init.FifoThreshold = 1;
  hospi1.Init.DualQuad = HAL_OSPI_DUALQUAD_DISABLE;
  hospi1.Init.MemoryType = HAL_OSPI_MEMTYPE_APMEMORY;
  hospi1.Init.DeviceSize = 23;
  hospi1.Init.ChipSelectHighTime = 2;
  hospi1.Init.FreeRunningClock = HAL_OSPI_FREERUNCLK_DISABLE;
  hospi1.Init.ClockMode = HAL_OSPI_CLOCK_MODE_0;
  hospi1.Init.WrapSize = HAL_OSPI_WRAP_NOT_SUPPORTED;
  hospi1.Init.ClockPrescaler = 4;
  hospi1.Init.SampleShifting = HAL_OSPI_SAMPLE_SHIFTING_NONE;
  hospi1.Init.DelayHoldQuarterCycle = HAL_OSPI_DHQC_ENABLE;
  hospi1.Init.ChipSelectBoundary = 0;
  hospi1.Init.DelayBlockBypass = HAL_OSPI_DELAY_BLOCK_BYPASSED;
  hospi1.Init.MaxTran = 0;
  hospi1.Init.Refresh = 0;
  if (HAL_OSPI_Init(&hospi1) != HAL_OK)
  {
    Error_Handler();
  }
  sOspiManagerCfg.ClkPort = 1;
  sOspiManagerCfg.NCSPort = 1;
  sOspiManagerCfg.IOLowPort = HAL_OSPIM_IOPORT_1_LOW;
  if (HAL_OSPIM_Config(&hospi1, &sOspiManagerCfg, HAL_OSPI_TIMEOUT_DEFAULT_VALUE) != HAL_OK)
  {
    Error_Handler();
  }

}

static void MX_OPAMP1_Init(void)
{

  hopamp1.Instance = OPAMP1;
  hopamp1.Init.Mode = OPAMP_PGA_MODE;
  hopamp1.Init.NonInvertingInput = OPAMP_NONINVERTINGINPUT_IO0;
  hopamp1.Init.PowerMode = OPAMP_POWERMODE_NORMAL;
  hopamp1.Init.PgaConnect = OPAMP_PGA_CONNECT_INVERTINGINPUT_NO;
  hopamp1.Init.PgaGain = OPAMP_PGA_GAIN_2_OR_MINUS_1;
  hopamp1.Init.UserTrimming = OPAMP_TRIMMING_FACTORY;
  if (HAL_OPAMP_Init(&hopamp1) != HAL_OK)
  {
    Error_Handler();
  }

}

static void MX_OPAMP2_Init(void)
{

  hopamp2.Instance = OPAMP2;
  hopamp2.Init.Mode = OPAMP_PGA_MODE;
  hopamp2.Init.PowerMode = OPAMP_POWERMODE_NORMAL;
  hopamp2.Init.PgaConnect = OPAMP_PGA_CONNECT_INVERTINGINPUT_NO;
  hopamp2.Init.PgaGain = OPAMP_PGA_GAIN_2_OR_MINUS_1;
  hopamp2.Init.UserTrimming = OPAMP_TRIMMING_FACTORY;
  if (HAL_OPAMP_Init(&hopamp2) != HAL_OK)
  {
    Error_Handler();
  }

}

static void MX_SPI1_Init(void)
{

  /* SPI1 parameter configuration*/
  hspi1.Instance = SPI1;
  hspi1.Init.Mode = SPI_MODE_MASTER;
  hspi1.Init.Direction = SPI_DIRECTION_2LINES;
  hspi1.Init.DataSize = SPI_DATASIZE_8BIT;
  hspi1.Init.CLKPolarity = SPI_POLARITY_LOW;
  hspi1.Init.CLKPhase = SPI_PHASE_1EDGE;
  hspi1.Init.NSS = SPI_NSS_HARD_OUTPUT;
  hspi1.Init.BaudRatePrescaler = SPI_BAUDRATEPRESCALER_2;
  hspi1.Init.FirstBit = SPI_FIRSTBIT_MSB;
  hspi1.Init.TIMode = SPI_TIMODE_DISABLE;
  hspi1.Init.CRCCalculation = SPI_CRCCALCULATION_DISABLE;
  hspi1.Init.CRCPolynomial = 0x0;
  hspi1.Init.NSSPMode = SPI_NSS_PULSE_ENABLE;
  hspi1.Init.NSSPolarity = SPI_NSS_POLARITY_LOW;
  hspi1.Init.FifoThreshold = SPI_FIFO_THRESHOLD_01DATA;
  hspi1.Init.TxCRCInitializationPattern = SPI_CRC_INITIALIZATION_ALL_ZERO_PATTERN;
  hspi1.Init.RxCRCInitializationPattern = SPI_CRC_INITIALIZATION_ALL_ZERO_PATTERN;
  hspi1.Init.MasterSSIdleness = SPI_MASTER_SS_IDLENESS_00CYCLE;
  hspi1.Init.MasterInterDataIdleness = SPI_MASTER_INTERDATA_IDLENESS_00CYCLE;
  hspi1.Init.MasterReceiverAutoSusp = SPI_MASTER_RX_AUTOSUSP_DISABLE;
  hspi1.Init.MasterKeepIOState = SPI_MASTER_KEEP_IO_STATE_DISABLE;
  hspi1.Init.IOSwap = SPI_IO_SWAP_DISABLE;
  if (HAL_SPI_Init(&hspi1) != HAL_OK)
  {
    Error_Handler();
  }
  /* USER CODE BEGIN SPI1_Init 2 */
  /* Override CubeMX default: keep MOSI/SCK driven (not Hi-Z) between
   * SPI bursts so AD9959 DIO pins never float.  The GPIO pull-down on
   * PD7 is a safety net; AFCNTR is the active fix (CFG2 bit 31). */
  SET_BIT(hspi1.Instance->CFG2, SPI_CFG2_AFCNTR);
  /* Override CubeMX default NSS_PULSE_ENABLE (= SPI_CFG2_SSOM): NSS pulse
   * mode re-asserts CS between bytes, which aborts AD9959 multi-byte
   * register writes (CFTW 5B, ACR 4B).  CS must stay low across the whole
   * frame — both in DMA mode (whole flat frame) and downgrade mode. */
  hspi1.Instance->CFG2 &= ~SPI_CFG2_SSOM;
  /* USER CODE END SPI1_Init 2 */

}

static void MX_TIM4_Init(void)
{

  TIM_SlaveConfigTypeDef sSlaveConfig = {0};
  TIM_MasterConfigTypeDef sMasterConfig = {0};
  TIM_IC_InitTypeDef sConfigIC = {0};

  htim4.Instance = TIM4;
  htim4.Init.Prescaler = 0;
  htim4.Init.CounterMode = TIM_COUNTERMODE_UP;
  htim4.Init.Period = 65535;
  htim4.Init.ClockDivision = TIM_CLOCKDIVISION_DIV1;
  htim4.Init.AutoReloadPreload = TIM_AUTORELOAD_PRELOAD_DISABLE;
  if (HAL_TIM_Base_Init(&htim4) != HAL_OK)
  {
    Error_Handler();
  }
  if (HAL_TIM_IC_Init(&htim4) != HAL_OK)
  {
    Error_Handler();
  }
  sSlaveConfig.SlaveMode = TIM_SLAVEMODE_RESET;
  sSlaveConfig.InputTrigger = TIM_TS_ETRF;
  sSlaveConfig.TriggerPolarity = TIM_TRIGGERPOLARITY_NONINVERTED;
  sSlaveConfig.TriggerPrescaler = TIM_TRIGGERPRESCALER_DIV1;
  sSlaveConfig.TriggerFilter = 0;
  if (HAL_TIM_SlaveConfigSynchro(&htim4, &sSlaveConfig) != HAL_OK)
  {
    Error_Handler();
  }
  sMasterConfig.MasterOutputTrigger = TIM_TRGO_RESET;
  sMasterConfig.MasterSlaveMode = TIM_MASTERSLAVEMODE_DISABLE;
  if (HAL_TIMEx_MasterConfigSynchronization(&htim4, &sMasterConfig) != HAL_OK)
  {
    Error_Handler();
  }
  sConfigIC.ICPolarity = TIM_INPUTCHANNELPOLARITY_RISING;
  sConfigIC.ICSelection = TIM_ICSELECTION_DIRECTTI;
  sConfigIC.ICPrescaler = TIM_ICPSC_DIV1;
  sConfigIC.ICFilter = 0;
  if (HAL_TIM_IC_ConfigChannel(&htim4, &sConfigIC, TIM_CHANNEL_1) != HAL_OK)
  {
    Error_Handler();
  }
  if (HAL_TIM_IC_ConfigChannel(&htim4, &sConfigIC, TIM_CHANNEL_2) != HAL_OK)
  {
    Error_Handler();
  }

}

static void MX_TIM5_Init(void)
{

  TIM_ClockConfigTypeDef sClockSourceConfig = {0};
  TIM_MasterConfigTypeDef sMasterConfig = {0};
  TIM_OC_InitTypeDef sConfigOC = {0};

  htim5.Instance = TIM5;
  htim5.Init.Prescaler = 0;
  htim5.Init.CounterMode = TIM_COUNTERMODE_UP;
  htim5.Init.Period = 4294967295;
  htim5.Init.ClockDivision = TIM_CLOCKDIVISION_DIV1;
  htim5.Init.AutoReloadPreload = TIM_AUTORELOAD_PRELOAD_DISABLE;
  if (HAL_TIM_Base_Init(&htim5) != HAL_OK)
  {
    Error_Handler();
  }
  sClockSourceConfig.ClockSource = TIM_CLOCKSOURCE_INTERNAL;
  if (HAL_TIM_ConfigClockSource(&htim5, &sClockSourceConfig) != HAL_OK)
  {
    Error_Handler();
  }
  if (HAL_TIM_PWM_Init(&htim5) != HAL_OK)
  {
    Error_Handler();
  }
  sMasterConfig.MasterOutputTrigger = TIM_TRGO_RESET;
  sMasterConfig.MasterSlaveMode = TIM_MASTERSLAVEMODE_DISABLE;
  if (HAL_TIMEx_MasterConfigSynchronization(&htim5, &sMasterConfig) != HAL_OK)
  {
    Error_Handler();
  }
  sConfigOC.OCMode = TIM_OCMODE_PWM1;
  sConfigOC.Pulse = 0;
  sConfigOC.OCPolarity = TIM_OCPOLARITY_HIGH;
  sConfigOC.OCFastMode = TIM_OCFAST_DISABLE;
  if (HAL_TIM_PWM_ConfigChannel(&htim5, &sConfigOC, TIM_CHANNEL_1) != HAL_OK)
  {
    Error_Handler();
  }
  /* USER CODE BEGIN TIM5_Init 2 */
  /* Override CubeMX default: TIM5 @ 128 MHz APB1, 10 Hz period.
   * ARR = 128 000 000 / 10 - 1 = 12 799 999 (32-bit counter).
   * Write hardware register directly — Init.Period was already consumed. */
  TIM5->ARR = 12799999U;
  /* USER CODE END TIM5_Init 2 */

}

static void MX_TIM8_Init(void)
{

  TIM_ClockConfigTypeDef sClockSourceConfig = {0};
  TIM_SlaveConfigTypeDef sSlaveConfig = {0};
  TIM_MasterConfigTypeDef sMasterConfig = {0};
  TIM_OC_InitTypeDef sConfigOC = {0};
  TIM_BreakDeadTimeConfigTypeDef sBreakDeadTimeConfig = {0};

  htim8.Instance = TIM8;
  htim8.Init.Prescaler = 0;
  htim8.Init.CounterMode = TIM_COUNTERMODE_UP;
  htim8.Init.Period = 65535;
  htim8.Init.ClockDivision = TIM_CLOCKDIVISION_DIV1;
  htim8.Init.RepetitionCounter = 0;
  htim8.Init.AutoReloadPreload = TIM_AUTORELOAD_PRELOAD_ENABLE;
  if (HAL_TIM_Base_Init(&htim8) != HAL_OK)
  {
    Error_Handler();
  }
  sClockSourceConfig.ClockSource = TIM_CLOCKSOURCE_INTERNAL;
  if (HAL_TIM_ConfigClockSource(&htim8, &sClockSourceConfig) != HAL_OK)
  {
    Error_Handler();
  }
  if (HAL_TIM_PWM_Init(&htim8) != HAL_OK)
  {
    Error_Handler();
  }
  sSlaveConfig.SlaveMode = TIM_SLAVEMODE_RESET;
  sSlaveConfig.InputTrigger = TIM_TS_ETRF;
  sSlaveConfig.TriggerPolarity = TIM_TRIGGERPOLARITY_NONINVERTED;
  sSlaveConfig.TriggerPrescaler = TIM_TRIGGERPRESCALER_DIV1;
  sSlaveConfig.TriggerFilter = 0;
  if (HAL_TIM_SlaveConfigSynchro(&htim8, &sSlaveConfig) != HAL_OK)
  {
    Error_Handler();
  }
  sMasterConfig.MasterOutputTrigger = TIM_TRGO_RESET;
  sMasterConfig.MasterOutputTrigger2 = TIM_TRGO2_RESET;
  sMasterConfig.MasterSlaveMode = TIM_MASTERSLAVEMODE_DISABLE;
  if (HAL_TIMEx_MasterConfigSynchronization(&htim8, &sMasterConfig) != HAL_OK)
  {
    Error_Handler();
  }
  sConfigOC.OCMode = TIM_OCMODE_PWM1;
  sConfigOC.Pulse = 0;
  sConfigOC.OCPolarity = TIM_OCPOLARITY_HIGH;
  sConfigOC.OCNPolarity = TIM_OCNPOLARITY_HIGH;
  sConfigOC.OCFastMode = TIM_OCFAST_DISABLE;
  sConfigOC.OCIdleState = TIM_OCIDLESTATE_RESET;
  sConfigOC.OCNIdleState = TIM_OCNIDLESTATE_RESET;
  if (HAL_TIM_PWM_ConfigChannel(&htim8, &sConfigOC, TIM_CHANNEL_1) != HAL_OK)
  {
    Error_Handler();
  }
  if (HAL_TIM_PWM_ConfigChannel(&htim8, &sConfigOC, TIM_CHANNEL_2) != HAL_OK)
  {
    Error_Handler();
  }
  sBreakDeadTimeConfig.OffStateRunMode = TIM_OSSR_DISABLE;
  sBreakDeadTimeConfig.OffStateIDLEMode = TIM_OSSI_DISABLE;
  sBreakDeadTimeConfig.LockLevel = TIM_LOCKLEVEL_OFF;
  sBreakDeadTimeConfig.DeadTime = 0;
  sBreakDeadTimeConfig.BreakState = TIM_BREAK_DISABLE;
  sBreakDeadTimeConfig.BreakPolarity = TIM_BREAKPOLARITY_HIGH;
  sBreakDeadTimeConfig.BreakFilter = 0;
  sBreakDeadTimeConfig.Break2State = TIM_BREAK2_DISABLE;
  sBreakDeadTimeConfig.Break2Polarity = TIM_BREAK2POLARITY_HIGH;
  sBreakDeadTimeConfig.Break2Filter = 0;
  sBreakDeadTimeConfig.AutomaticOutput = TIM_AUTOMATICOUTPUT_DISABLE;
  if (HAL_TIMEx_ConfigBreakDeadTime(&htim8, &sBreakDeadTimeConfig) != HAL_OK)
  {
    Error_Handler();
  }
  HAL_TIM_MspPostInit(&htim8);

}

static void MX_TIM15_Init(void)
{

  TIM_ClockConfigTypeDef sClockSourceConfig = {0};
  TIM_MasterConfigTypeDef sMasterConfig = {0};
  TIM_OC_InitTypeDef sConfigOC = {0};
  TIM_BreakDeadTimeConfigTypeDef sBreakDeadTimeConfig = {0};

  htim15.Instance = TIM15;
  htim15.Init.Prescaler = 0;
  htim15.Init.CounterMode = TIM_COUNTERMODE_UP;
  htim15.Init.Period = 65535;
  htim15.Init.ClockDivision = TIM_CLOCKDIVISION_DIV1;
  htim15.Init.RepetitionCounter = 0;
  htim15.Init.AutoReloadPreload = TIM_AUTORELOAD_PRELOAD_DISABLE;
  if (HAL_TIM_Base_Init(&htim15) != HAL_OK)
  {
    Error_Handler();
  }
  sClockSourceConfig.ClockSource = TIM_CLOCKSOURCE_INTERNAL;
  if (HAL_TIM_ConfigClockSource(&htim15, &sClockSourceConfig) != HAL_OK)
  {
    Error_Handler();
  }
  if (HAL_TIM_PWM_Init(&htim15) != HAL_OK)
  {
    Error_Handler();
  }
  sMasterConfig.MasterOutputTrigger = TIM_TRGO_RESET;
  sMasterConfig.MasterSlaveMode = TIM_MASTERSLAVEMODE_DISABLE;
  if (HAL_TIMEx_MasterConfigSynchronization(&htim15, &sMasterConfig) != HAL_OK)
  {
    Error_Handler();
  }
  sConfigOC.OCMode = TIM_OCMODE_PWM1;
  sConfigOC.Pulse = 99;
  sConfigOC.OCPolarity = TIM_OCPOLARITY_HIGH;
  sConfigOC.OCNPolarity = TIM_OCNPOLARITY_HIGH;
  sConfigOC.OCFastMode = TIM_OCFAST_DISABLE;
  sConfigOC.OCIdleState = TIM_OCIDLESTATE_RESET;
  sConfigOC.OCNIdleState = TIM_OCNIDLESTATE_RESET;
  if (HAL_TIM_PWM_ConfigChannel(&htim15, &sConfigOC, TIM_CHANNEL_1) != HAL_OK)
  {
    Error_Handler();
  }
  sBreakDeadTimeConfig.OffStateRunMode = TIM_OSSR_DISABLE;
  sBreakDeadTimeConfig.OffStateIDLEMode = TIM_OSSI_DISABLE;
  sBreakDeadTimeConfig.LockLevel = TIM_LOCKLEVEL_OFF;
  sBreakDeadTimeConfig.DeadTime = 0;
  sBreakDeadTimeConfig.BreakState = TIM_BREAK_DISABLE;
  sBreakDeadTimeConfig.BreakPolarity = TIM_BREAKPOLARITY_HIGH;
  sBreakDeadTimeConfig.BreakFilter = 0;
  sBreakDeadTimeConfig.AutomaticOutput = TIM_AUTOMATICOUTPUT_DISABLE;
  if (HAL_TIMEx_ConfigBreakDeadTime(&htim15, &sBreakDeadTimeConfig) != HAL_OK)
  {
    Error_Handler();
  }
  HAL_TIM_MspPostInit(&htim15);

}

static void MX_UART4_Init(void)
{

  huart4.Instance = UART4;
  huart4.Init.BaudRate = 115200;
  huart4.Init.WordLength = UART_WORDLENGTH_8B;
  huart4.Init.StopBits = UART_STOPBITS_1;
  huart4.Init.Parity = UART_PARITY_NONE;
  huart4.Init.Mode = UART_MODE_TX_RX;
  huart4.Init.HwFlowCtl = UART_HWCONTROL_NONE;
  huart4.Init.OverSampling = UART_OVERSAMPLING_16;
  huart4.Init.OneBitSampling = UART_ONE_BIT_SAMPLE_DISABLE;
  huart4.Init.ClockPrescaler = UART_PRESCALER_DIV1;
  huart4.AdvancedInit.AdvFeatureInit = UART_ADVFEATURE_NO_INIT;
  if (HAL_UART_Init(&huart4) != HAL_OK)
  {
    Error_Handler();
  }
  if (HAL_UARTEx_SetTxFifoThreshold(&huart4, UART_TXFIFO_THRESHOLD_1_8) != HAL_OK)
  {
    Error_Handler();
  }
  if (HAL_UARTEx_SetRxFifoThreshold(&huart4, UART_RXFIFO_THRESHOLD_1_8) != HAL_OK)
  {
    Error_Handler();
  }
  if (HAL_UARTEx_DisableFifoMode(&huart4) != HAL_OK)
  {
    Error_Handler();
  }

}

static void MX_USART1_UART_Init(void)
{

  huart1.Instance = USART1;
  huart1.Init.BaudRate = 115200;
  huart1.Init.WordLength = UART_WORDLENGTH_8B;
  huart1.Init.StopBits = UART_STOPBITS_1;
  huart1.Init.Parity = UART_PARITY_NONE;
  huart1.Init.Mode = UART_MODE_TX_RX;
  huart1.Init.HwFlowCtl = UART_HWCONTROL_NONE;
  huart1.Init.OverSampling = UART_OVERSAMPLING_16;
  huart1.Init.OneBitSampling = UART_ONE_BIT_SAMPLE_DISABLE;
  huart1.Init.ClockPrescaler = UART_PRESCALER_DIV1;
  huart1.AdvancedInit.AdvFeatureInit = UART_ADVFEATURE_NO_INIT;
  if (HAL_UART_Init(&huart1) != HAL_OK)
  {
    Error_Handler();
  }
  if (HAL_UARTEx_SetTxFifoThreshold(&huart1, UART_TXFIFO_THRESHOLD_1_8) != HAL_OK)
  {
    Error_Handler();
  }
  if (HAL_UARTEx_SetRxFifoThreshold(&huart1, UART_RXFIFO_THRESHOLD_1_8) != HAL_OK)
  {
    Error_Handler();
  }
  if (HAL_UARTEx_DisableFifoMode(&huart1) != HAL_OK)
  {
    Error_Handler();
  }

}

static void MX_DMA_Init(void)
{

  /* DMA controller clock enable */
  __HAL_RCC_DMA1_CLK_ENABLE();

  /* DMA interrupt init */
  /* DMA1_Stream1_IRQn interrupt configuration */
  HAL_NVIC_SetPriority(DMA1_Stream1_IRQn, 0, 0);
  HAL_NVIC_EnableIRQ(DMA1_Stream1_IRQn);
  /* DMA1_Stream3_IRQn interrupt configuration */
  HAL_NVIC_SetPriority(DMA1_Stream3_IRQn, 0, 0);
  HAL_NVIC_EnableIRQ(DMA1_Stream3_IRQn);
  /* DMAMUX1_OVR_IRQn interrupt configuration */
  HAL_NVIC_SetPriority(DMAMUX1_OVR_IRQn, 0, 0);
  HAL_NVIC_EnableIRQ(DMAMUX1_OVR_IRQn);

}

static void MX_GPIO_Init(void)
{
  GPIO_InitTypeDef GPIO_InitStruct = {0};

  /* GPIO Ports Clock Enable */
  __HAL_RCC_GPIOE_CLK_ENABLE();
  __HAL_RCC_GPIOH_CLK_ENABLE();
  __HAL_RCC_GPIOA_CLK_ENABLE();
  __HAL_RCC_GPIOC_CLK_ENABLE();
  __HAL_RCC_GPIOB_CLK_ENABLE();
  __HAL_RCC_GPIOD_CLK_ENABLE();

  /*Configure GPIO pin Output Level */
  HAL_GPIO_WritePin(GPIOE, OCR_STCP_Pin|OCR_DS_Pin|OCR_SHCP_Pin|OCR_NMR_Pin
                          |OCR_NOE_Pin, GPIO_PIN_RESET);

  /*Configure GPIO pin Output Level */
  HAL_GPIO_WritePin(GPIOD, IO_9959_1_Pin|IO_9959_0_Pin|IO_9959_DIO2_Pin, GPIO_PIN_RESET);

  /*Configure GPIO pins : OCR_STCP_Pin OCR_DS_Pin OCR_SHCP_Pin OCR_NMR_Pin
                           OCR_NOE_Pin */
  GPIO_InitStruct.Pin = OCR_STCP_Pin|OCR_DS_Pin|OCR_SHCP_Pin|OCR_NMR_Pin
                          |OCR_NOE_Pin;
  GPIO_InitStruct.Mode = GPIO_MODE_OUTPUT_PP;
  GPIO_InitStruct.Pull = GPIO_NOPULL;
  GPIO_InitStruct.Speed = GPIO_SPEED_FREQ_LOW;
  HAL_GPIO_Init(GPIOE, &GPIO_InitStruct);

  /*Configure GPIO pins : IO_9959_1_Pin IO_9959_0_Pin */
  GPIO_InitStruct.Pin = IO_9959_1_Pin|IO_9959_0_Pin;
  GPIO_InitStruct.Mode = GPIO_MODE_OUTPUT_PP;
  GPIO_InitStruct.Pull = GPIO_NOPULL;
  GPIO_InitStruct.Speed = GPIO_SPEED_FREQ_HIGH;
  HAL_GPIO_Init(GPIOD, &GPIO_InitStruct);

  /*Configure GPIO pin : SPI_9959_DIO3_BP_Pin */
  GPIO_InitStruct.Pin = SPI_9959_DIO3_BP_Pin;
  GPIO_InitStruct.Mode = GPIO_MODE_INPUT;
  GPIO_InitStruct.Pull = GPIO_NOPULL;
  HAL_GPIO_Init(SPI_9959_DIO3_BP_GPIO_Port, &GPIO_InitStruct);

  /*Configure GPIO pin : IO_9959_DIO2_Pin */
  GPIO_InitStruct.Pin = IO_9959_DIO2_Pin;
  GPIO_InitStruct.Mode = GPIO_MODE_OUTPUT_PP;
  GPIO_InitStruct.Pull = GPIO_NOPULL;
  GPIO_InitStruct.Speed = GPIO_SPEED_FREQ_VERY_HIGH;
  HAL_GPIO_Init(IO_9959_DIO2_GPIO_Port, &GPIO_InitStruct);

  /*Configure GPIO pin : SPI_9959_DIO1_Pin */
  GPIO_InitStruct.Pin = SPI_9959_DIO1_Pin;
  GPIO_InitStruct.Mode = GPIO_MODE_AF_PP;
  GPIO_InitStruct.Pull = GPIO_PULLDOWN;
  GPIO_InitStruct.Speed = GPIO_SPEED_FREQ_VERY_HIGH;
  GPIO_InitStruct.Alternate = GPIO_AF5_SPI3;
  HAL_GPIO_Init(SPI_9959_DIO1_GPIO_Port, &GPIO_InitStruct);

  /*Configure GPIO pin : SYNC_9959_IO_UPDATE_BP_Pin */
  GPIO_InitStruct.Pin = SYNC_9959_IO_UPDATE_BP_Pin;
  GPIO_InitStruct.Mode = GPIO_MODE_INPUT;
  GPIO_InitStruct.Pull = GPIO_PULLDOWN;
  HAL_GPIO_Init(SYNC_9959_IO_UPDATE_BP_GPIO_Port, &GPIO_InitStruct);

}

/* USER CODE BEGIN 4 */
/**
 * @brief  Grant CPU/DMA access to the APS6404 PSRAM aperture.
 *
 * MPU region 0 (programmed by MPU_Config) marks subregion 4
 * (0x80000000-0x9FFFFFFF, incl. 0x90000000) as NO_ACCESS + XN.  Region 7
 * (higher number wins) overrides it with Normal, non-cacheable attributes:
 * CPU↔DMA sharing needs zero cache maintenance, and Normal (not Device /
 * Strongly-ordered) keeps byte-granular, unaligned memcpy legal.
 */
static void MPU_Config_PSRAM(void)
{
  MPU_Region_InitTypeDef mpu = {0};

  HAL_MPU_Disable();                          /* region 0 stays programmed */

  mpu.Enable           = MPU_REGION_ENABLE;
  mpu.Number           = MPU_REGION_NUMBER7;
  mpu.BaseAddress      = APS6404_BASE;
  mpu.Size             = MPU_REGION_SIZE_256MB;   /* whole OCTOSPI1 aperture */
  mpu.SubRegionDisable = 0x00U;
  mpu.TypeExtField     = MPU_TEX_LEVEL1;          /* TEX=001 → Normal */
  mpu.AccessPermission = MPU_REGION_FULL_ACCESS;
  mpu.DisableExec      = MPU_INSTRUCTION_ACCESS_DISABLE;
  mpu.IsShareable      = MPU_ACCESS_SHAREABLE;    /* shared with DMA masters */
  mpu.IsCacheable      = MPU_ACCESS_NOT_CACHEABLE;
  mpu.IsBufferable     = MPU_ACCESS_NOT_BUFFERABLE;

  HAL_MPU_ConfigRegion(&mpu);
  HAL_MPU_Enable(MPU_PRIVILEGED_DEFAULT);     /* same flags as MPU_Config */
}

/* USER CODE END 4 */

 /* MPU Configuration */

void MPU_Config(void)
{
  MPU_Region_InitTypeDef MPU_InitStruct = {0};

  /* Disables the MPU */
  HAL_MPU_Disable();

  /** Initializes and configures the Region and the memory to be protected
  */
  MPU_InitStruct.Enable = MPU_REGION_ENABLE;
  MPU_InitStruct.Number = MPU_REGION_NUMBER0;
  MPU_InitStruct.BaseAddress = 0x0;
  MPU_InitStruct.Size = MPU_REGION_SIZE_4GB;
  MPU_InitStruct.SubRegionDisable = 0x87;
  MPU_InitStruct.TypeExtField = MPU_TEX_LEVEL0;
  MPU_InitStruct.AccessPermission = MPU_REGION_NO_ACCESS;
  MPU_InitStruct.DisableExec = MPU_INSTRUCTION_ACCESS_DISABLE;
  MPU_InitStruct.IsShareable = MPU_ACCESS_SHAREABLE;
  MPU_InitStruct.IsCacheable = MPU_ACCESS_NOT_CACHEABLE;
  MPU_InitStruct.IsBufferable = MPU_ACCESS_NOT_BUFFERABLE;

  HAL_MPU_ConfigRegion(&MPU_InitStruct);
  /* Enables the MPU */
  HAL_MPU_Enable(MPU_PRIVILEGED_DEFAULT);

}

void Error_Handler(void)
{
  __disable_irq();
  while (1)
  {
  }
}
